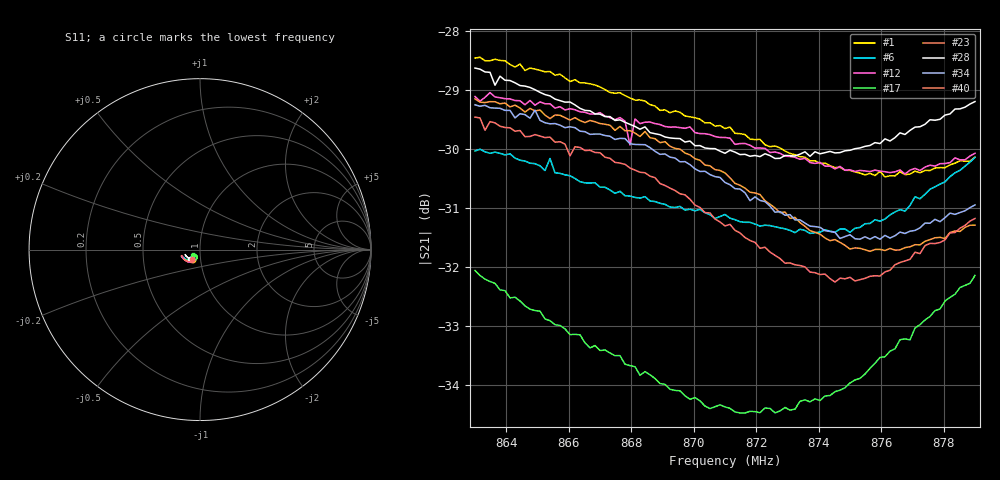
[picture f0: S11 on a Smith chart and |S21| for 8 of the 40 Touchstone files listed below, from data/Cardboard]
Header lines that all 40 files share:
# HZ S RI R 50
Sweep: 863 MHz to 879 MHz
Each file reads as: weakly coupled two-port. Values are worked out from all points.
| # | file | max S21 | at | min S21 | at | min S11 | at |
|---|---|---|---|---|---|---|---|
| 1 | co0s6.s2p | -28.45 dB | 863.16 MHz | -30.5 dB | 876.12 MHz | -22.9 dB | 865.08 MHz |
| 2 | co1s1.s2p | -29.36 dB | 864.6 MHz | -30.9 dB | 874.52 MHz | -27.8 dB | 864.6 MHz |
| 3 | co1s2.s2p | -30.25 dB | 863.16 MHz | -32.5 dB | 873.72 MHz | -27.8 dB | 866.52 MHz |
| 4 | co1s5.s2p | -29.30 dB | 878.84 MHz | -30.1 dB | 874.36 MHz | -23.5 dB | 864.12 MHz |
| 5 | co1s6.s2p | -28.61 dB | 864.12 MHz | -30.0 dB | 875.48 MHz | -22.7 dB | 863 MHz |
| 6 | co1s9.s2p | -30.01 dB | 863.16 MHz | -31.4 dB | 873.72 MHz | -24.8 dB | 867 MHz |
| 7 | co1s14.s2p | -28.56 dB | 879 MHz | -29.6 dB | 871.8 MHz | -27.5 dB | 864.12 MHz |
| 8 | co2s9.s2p | -28.81 dB | 863.16 MHz | -30.8 dB | 875.96 MHz | -23.1 dB | 864.44 MHz |
| 9 | co3s1.s2p | -29.02 dB | 863.16 MHz | -30.9 dB | 875.96 MHz | -23.1 dB | 864.6 MHz |
| 10 | co3s3.s2p | -29.21 dB | 863.16 MHz | -30.9 dB | 876.28 MHz | -23.2 dB | 865.4 MHz |
| 11 | co3s10.s2p | -28.85 dB | 863.16 MHz | -30.5 dB | 874.68 MHz | -23.3 dB | 864.12 MHz |
| 12 | co3s18.s2p | -29.05 dB | 863.48 MHz | -30.4 dB | 876.76 MHz | -23.1 dB | 864.6 MHz |
| 13 | co3s19.s2p | -29.45 dB | 863 MHz | -31.0 dB | 875.64 MHz | -23.2 dB | 865.24 MHz |
| 14 | co3s21.s2p | -29.06 dB | 863 MHz | -30.3 dB | 875.48 MHz | -23.3 dB | 865.4 MHz |
| 15 | co4s0.s2p | -29.36 dB | 863 MHz | -30.2 dB | 873.88 MHz | -23.1 dB | 864.92 MHz |
| 16 | co4s8.s2p | -28.39 dB | 863.16 MHz | -30.8 dB | 876.92 MHz | -22.9 dB | 864.92 MHz |
| 17 | co5s0.s2p | -32.06 dB | 863 MHz | -34.5 dB | 871.64 MHz | -28.4 dB | 866.84 MHz |
| 18 | co5s1.s2p | -30.07 dB | 879 MHz | -31.9 dB | 870.84 MHz | -27.0 dB | 863.96 MHz |
| 19 | co5s3.s2p | -29.61 dB | 863 MHz | -32.4 dB | 873.24 MHz | -22.4 dB | 865.4 MHz |
| 20 | co5s6.s2p | -31.27 dB | 863 MHz | -35.5 dB | 873.08 MHz | -26.1 dB | 866.84 MHz |
| 21 | co6s6.s2p | -27.54 dB | 863.8 MHz | -31.9 dB | 876.12 MHz | -23.5 dB | 865.08 MHz |
| 22 | co7s8.s2p | -29.29 dB | 863 MHz | -31.5 dB | 876.44 MHz | -23.2 dB | 864.44 MHz |
| 23 | co7s9.s2p | -29.16 dB | 863 MHz | -31.7 dB | 875.64 MHz | -23.2 dB | 865.08 MHz |
| 24 | co8s2.s2p | -31.87 dB | 879 MHz | -34.4 dB | 872.92 MHz | -27.8 dB | 865.4 MHz |
| 25 | co8s7.s2p | -29.46 dB | 879 MHz | -30.6 dB | 874.52 MHz | -22.7 dB | 863.96 MHz |
| 26 | co9s1.s2p | -30.89 dB | 863 MHz | -34.4 dB | 875 MHz | -24.9 dB | 868.12 MHz |
| 27 | co9s4.s2p | -31.04 dB | 878.84 MHz | -33.2 dB | 871.48 MHz | -25.7 dB | 866.04 MHz |
| 28 | co9s5.s2p | -28.63 dB | 863 MHz | -30.2 dB | 872.6 MHz | -23.5 dB | 866.04 MHz |
| 29 | co9s9.s2p | -29.15 dB | 865.72 MHz | -32.6 dB | 875.96 MHz | -23.6 dB | 865.4 MHz |
| 30 | co9s10.s2p | -30.90 dB | 863 MHz | -33.0 dB | 875.32 MHz | -24.5 dB | 865.24 MHz |
| 31 | co9s12.s2p | -28.70 dB | 879 MHz | -29.9 dB | 871.8 MHz | -22.7 dB | 863.16 MHz |
| 32 | co9s13.s2p | -29.43 dB | 879 MHz | -30.8 dB | 871.8 MHz | -22.4 dB | 864.44 MHz |
| 33 | co9s14.s2p | -30.26 dB | 863 MHz | -32.6 dB | 873.08 MHz | -24.0 dB | 865.24 MHz |
| 34 | co10s0.s2p | -29.26 dB | 863 MHz | -31.5 dB | 875.96 MHz | -23.5 dB | 864.92 MHz |
| 35 | co10s2.s2p | -29.35 dB | 863 MHz | -31.6 dB | 875.48 MHz | -23.4 dB | 865.24 MHz |
| 36 | co10s3.s2p | -29.25 dB | 863.16 MHz | -31.6 dB | 875.48 MHz | -23.3 dB | 864.92 MHz |
| 37 | co10s4.s2p | -29.32 dB | 863.48 MHz | -31.4 dB | 875.96 MHz | -23.3 dB | 865.24 MHz |
| 38 | co11s1.s2p | -29.40 dB | 863 MHz | -32.6 dB | 874.84 MHz | -23.4 dB | 864.44 MHz |
| 39 | co11s2.s2p | -29.30 dB | 863 MHz | -32.4 dB | 875 MHz | -23.5 dB | 864.92 MHz |
| 40 | co11s5.s2p | -29.47 dB | 863 MHz | -32.3 dB | 874.52 MHz | -23.4 dB | 864.44 MHz |
